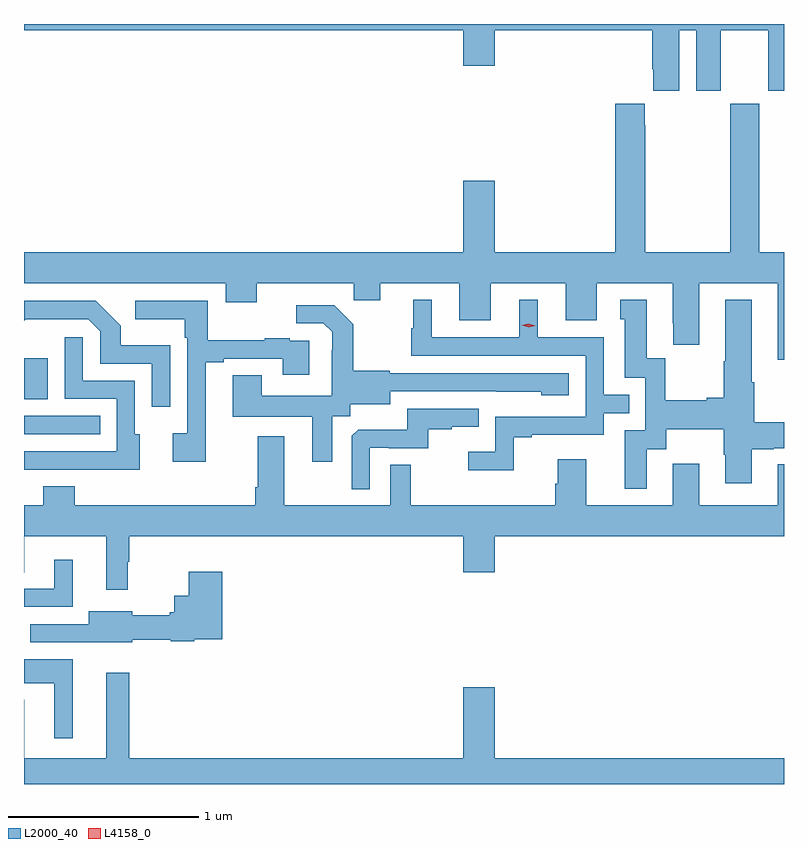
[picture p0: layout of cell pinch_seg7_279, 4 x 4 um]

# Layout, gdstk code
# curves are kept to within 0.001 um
import gdstk
lib = gdstk.Library(unit=1e-6, precision=1e-09)
def R(c, l, rs):  # rectangles x0, y0, x1, y1
    for r in rs: c.add(gdstk.rectangle(r[:2], r[2:], *l))
def P(c, l, *ps):  # polygons
    for p in ps: c.add(gdstk.Polygon(p, *l))
L2000_40 = (2000, 40)
L4158_0 = (4158, 0)

pinch_seg7_279 = lib.new_cell('pinch_seg7_279')
R(pinch_seg7_279, L2000_40, [(570.287,1046.442,570.689,1046.538), (570.287,1046.627,570.412,1046.842)])
P(pinch_seg7_279, L2000_40, [(570.287,1048.568),(572.6,1048.568),(572.6,1048.38),(572.764,1048.38),(572.764,1048.568),(573.593,1048.568),(573.593,1048.363),(573.599,1048.363),(573.599,1048.251),(573.736,1048.251),(573.736,1048.568),(573.824,1048.568),(573.824,1048.251),(573.955,1048.251),(573.955,1048.568),(574.205,1048.568),(574.205,1048.251),(574.287,1048.251),(574.287,1048.601),(570.287,1048.601)],
  [(574.287,1047.4),(574.158,1047.4),(574.158,1048.18),(574.003,1048.18),(574.003,1047.4),(573.558,1047.4),(573.558,1048.067),(573.553,1048.067),(573.553,1048.18),(573.398,1048.18),(573.398,1047.4),(572.764,1047.4),(572.764,1047.775),(572.6,1047.775),(572.6,1047.4),(570.287,1047.4),(570.287,1047.236),(571.349,1047.236),(571.349,1047.137),(571.513,1047.137),(571.513,1047.236),(572.023,1047.236),(572.023,1047.146),(572.161,1047.146),(572.161,1047.236),(572.579,1047.236),(572.579,1047.042),(572.743,1047.042),(572.743,1047.236),(573.137,1047.236),(573.137,1047.042),(573.301,1047.042),(573.301,1047.236),(573.701,1047.236),(573.701,1047.025),(573.704,1047.025),(573.704,1046.913),(573.841,1046.913),(573.841,1047.236),(574.253,1047.236),(574.253,1046.835),(574.287,1046.835)],
  [(572.865,1046.427),(572.959,1046.427),(572.959,1046.439),(573.339,1046.439),(573.339,1046.553),(573.473,1046.553),(573.473,1046.649),(573.339,1046.649),(573.339,1046.952),(572.992,1046.952),(572.992,1047.151),(572.894,1047.151),(572.894,1046.952),(572.434,1046.952),(572.434,1047.151),(572.336,1047.151),(572.336,1047),(572.325,1047),(572.325,1046.856),(573.243,1046.856),(573.243,1046.535),(572.766,1046.535),(572.766,1046.35),(572.625,1046.35),(572.625,1046.252),(572.865,1046.252)],
  [(573.565,1046.362),(573.667,1046.362),(573.667,1046.468),(573.97,1046.468),(573.97,1046.334),(573.977,1046.334),(573.977,1046.184),(574.117,1046.184),(574.117,1046.362),(574.233,1046.362),(574.233,1046.369),(574.287,1046.369),(574.287,1046.504),(574.13,1046.504),(574.13,1046.716),(574.117,1046.716),(574.117,1047.151),(573.977,1047.151),(573.977,1046.825),(573.97,1046.825),(573.97,1046.633),(573.881,1046.633),(573.881,1046.62),(573.663,1046.62),(573.663,1046.843),(573.565,1046.843),(573.565,1047.151),(573.425,1047.151),(573.425,1047.048),(573.449,1047.048),(573.449,1046.739),(573.558,1046.739),(573.558,1046.463),(573.449,1046.463),(573.449,1046.154),(573.565,1046.154)],
  [(571.056,1046.911),(570.795,1046.911),(570.795,1047.014),(570.664,1047.144),(570.287,1047.144),(570.287,1047.038),(570.296,1047.047),(570.624,1047.048),(570.687,1046.985),(570.687,1046.814),(570.96,1046.814),(570.96,1046.586),(571.056,1046.586)],
  [(571.243,1046.82),(571.339,1046.82),(571.339,1046.838),(571.649,1046.838),(571.649,1046.754),(571.789,1046.754),(571.789,1046.934),(571.685,1046.934),(571.685,1046.947),(571.553,1046.947),(571.553,1046.936),(571.255,1046.936),(571.255,1047.144),(570.873,1047.144),(570.873,1047.047),(571.134,1047.047),(571.134,1046.951),(571.146,1046.951),(571.146,1046.446),(571.071,1046.446),(571.071,1046.298),(571.243,1046.298)],
  [(571.909,1046.536),(572.004,1046.536),(572.004,1046.6),(572.215,1046.6),(572.215,1046.667),(573.009,1046.666),(573.009,1046.648),(573.154,1046.648),(573.154,1046.763),(572.211,1046.763),(572.211,1046.776),(572.019,1046.776),(572.019,1047.021),(571.919,1047.121),(571.719,1047.121),(571.719,1047.027),(571.863,1047.027),(571.91,1046.98),(571.91,1046.885),(571.908,1046.885),(571.908,1046.644),(571.537,1046.644),(571.537,1046.753),(571.385,1046.753),(571.385,1046.534),(571.805,1046.534),(571.805,1046.298),(571.909,1046.298)],
  [(570.895,1046.442),(570.87,1046.442),(570.87,1046.724),(570.597,1046.724),(570.597,1046.953),(570.501,1046.953),(570.501,1046.628),(570.774,1046.628),(570.774,1046.352),(570.287,1046.352),(570.287,1046.256),(570.677,1046.256),(570.677,1046.255),(570.895,1046.255)],
  [(572.106,1046.37),(572.206,1046.37),(572.206,1046.367),(572.414,1046.367),(572.414,1046.469),(572.537,1046.469),(572.537,1046.48),(572.681,1046.48),(572.681,1046.577),(572.304,1046.577),(572.304,1046.465),(572.045,1046.465),(572.013,1046.433),(572.013,1046.153),(572.106,1046.153)],
  [(570.833,1045.772),(570.841,1045.772),(570.841,1045.904),(572.6,1045.904),(572.6,1045.716),(572.764,1045.716),(572.764,1045.904),(574.287,1045.904),(574.287,1046.284),(574.253,1046.284),(574.253,1046.068),(573.841,1046.068),(573.841,1046.287),(573.701,1046.287),(573.701,1046.068),(573.247,1046.068),(573.247,1046.311),(573.095,1046.311),(573.095,1046.181),(573.083,1046.181),(573.083,1046.068),(572.323,1046.068),(572.323,1046.282),(572.214,1046.282),(572.214,1046.068),(571.657,1046.068),(571.657,1046.43),(571.517,1046.43),(571.517,1046.164),(571.505,1046.164),(571.505,1046.068),(570.553,1046.068),(570.553,1046.167),(570.389,1046.167),(570.389,1046.068),(570.287,1046.068),(570.287,1045.714),(570.289,1045.714),(570.289,1045.904),(570.719,1045.904),(570.719,1045.623),(570.833,1045.623)],
  [(570.544,1045.78),(570.446,1045.78),(570.446,1045.629),(570.287,1045.629),(570.287,1045.533),(570.544,1045.533)],
  [(570.856,1045.36),(571.059,1045.36),(571.059,1045.352),(571.183,1045.352),(571.183,1045.364),(571.331,1045.364),(571.331,1045.717),(571.153,1045.717),(571.153,1045.591),(571.079,1045.591),(571.079,1045.506),(571.055,1045.506),(571.055,1045.489),(570.856,1045.489),(570.856,1045.51),(570.629,1045.51),(570.629,1045.443),(570.321,1045.443),(570.321,1045.347),(570.633,1045.347),(570.633,1045.346),(570.856,1045.346)],
  [(570.544,1045.258),(570.287,1045.258),(570.287,1045.13),(570.446,1045.13),(570.446,1044.843),(570.544,1044.843)],
  [(574.287,1044.736),(572.764,1044.736),(572.764,1045.111),(572.6,1045.111),(572.6,1044.736),(570.841,1044.736),(570.841,1045.186),(570.719,1045.186),(570.719,1044.736),(570.289,1044.736),(570.289,1045.045),(570.287,1045.045),(570.287,1044.601),(574.287,1044.601)])
P(pinch_seg7_279, L4158_0, [(572.943,1047.004),(572.907,1047.015),(572.907,1047.015),(572.907,1047.016),(572.943,1047.024),(572.979,1047.013),(572.979,1047.013),(572.979,1047.013)])

lib.write_gds('pinch_seg7_279.gds')
